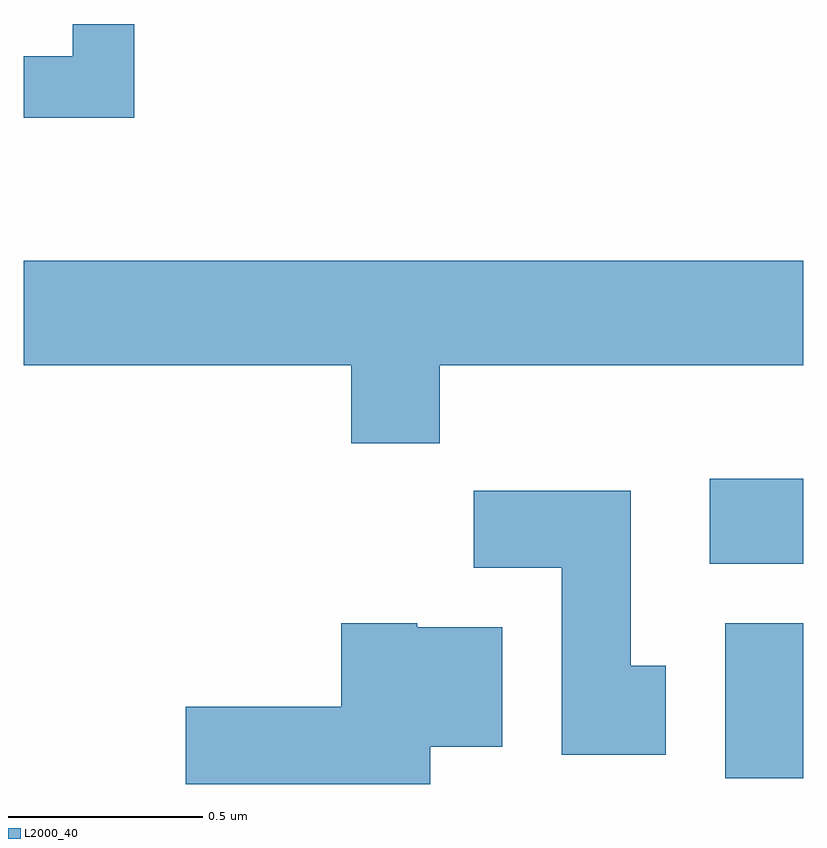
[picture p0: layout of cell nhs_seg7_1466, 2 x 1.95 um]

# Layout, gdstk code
import gdstk
lib = gdstk.Library(unit=1e-6, precision=1e-09)
def R(c, l, rs):  # rectangles x0, y0, x1, y1
    for r in rs: c.add(gdstk.rectangle(r[:2], r[2:], *l))
def P(c, l, *ps):  # polygons
    for p in ps: c.add(gdstk.Polygon(p, *l))
L2000_40 = (2000, 40)

nhs_seg7_1466 = lib.new_cell('nhs_seg7_1466')
R(nhs_seg7_1466, L2000_40, [(197.411,1764.316,197.611,1764.714), (197.371,1764.866,197.611,1765.084)])
P(nhs_seg7_1466, L2000_40, [(195.894,1766.252),(195.736,1766.252),(195.736,1766.169),(195.611,1766.169),(195.611,1766.011),(195.894,1766.011)],
  [(196.679,1765.376),(197.611,1765.376),(197.611,1765.644),(195.611,1765.644),(195.611,1765.376),(196.451,1765.376),(196.451,1765.176),(196.679,1765.176)],
  [(197.259,1764.604),(197.169,1764.604),(197.169,1765.054),(196.766,1765.054),(196.766,1764.856),(196.991,1764.856),(196.991,1764.376),(197.259,1764.376)],
  [(196.654,1764.396),(196.839,1764.396),(196.839,1764.704),(196.62,1764.704),(196.62,1764.714),(196.426,1764.714),(196.426,1764.499),(196.026,1764.499),(196.026,1764.301),(196.654,1764.301)])

lib.write_gds('nhs_seg7_1466.gds')
